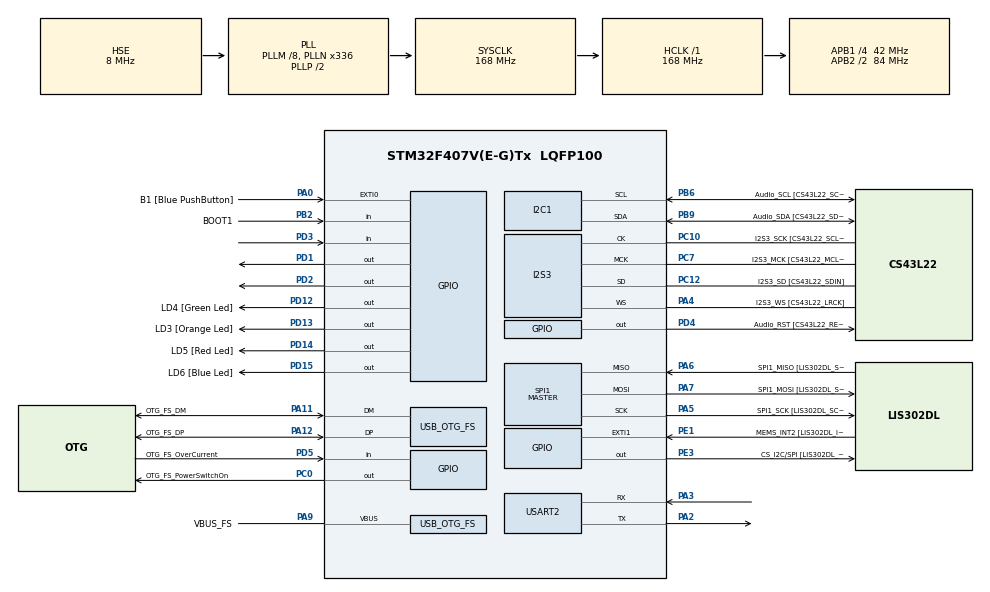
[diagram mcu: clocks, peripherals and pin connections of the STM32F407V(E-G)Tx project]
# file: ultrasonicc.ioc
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I2S3.AudioFreq-Half_Duplex_Master=I2S_AUDIOFREQ_96K
I2S3.ErrorAudioFreq=-2.34 %
I2S3.ErrorAudioFreq-Half_Duplex_Master=0.8 %
I2S3.FullDuplexMode=I2S_FULLDUPLEXMODE_DISABLE
I2S3.Instance=SPI$Index
I2S3.RealAudioFreq=93.75 KHz
I2S3.RealAudioFreq-Half_Duplex_Master=96.774 KHz
I2S3.VirtualMode=I2S_MODE_MASTER
Mcu.Family=STM32F4
Mcu.Name=STM32F407V(E-G)Tx
Mcu.Package=LQFP100
NVIC.OTG_FS_IRQn=true\:0\:0\:false\:false\:true\:true\:true
NVIC.PriorityGroup=NVIC_PRIORITYGROUP_0
PA0-WKUP.GPIO_Label=B1 [Blue PushButton]
PA0-WKUP.GPIO_ModeDefaultEXTI=GPIO_MODE_EVT_RISING
PA0-WKUP.GPIO_PuPd=GPIO_NOPULL
PA0-WKUP.Signal=GPXTI0
PA10.GPIO_Label=OTG_FS_ID
PA10.GPIO_Mode=GPIO_MODE_AF_PP
PA10.GPIO_PuPd=GPIO_NOPULL
PA10.GPIO_Speed=GPIO_SPEED_FREQ_LOW
PA10.Signal=USB_OTG_FS_ID
PA11.GPIO_Label=OTG_FS_DM
PA11.GPIO_Mode=GPIO_MODE_AF_PP
PA11.GPIO_PuPd=GPIO_NOPULL
PA11.GPIO_Speed=GPIO_SPEED_FREQ_LOW
PA11.Mode=Host_Only
PA11.Signal=USB_OTG_FS_DM
PA12.GPIO_Label=OTG_FS_DP
PA12.GPIO_Mode=GPIO_MODE_AF_PP
PA12.GPIO_PuPd=GPIO_NOPULL
PA12.GPIO_Speed=GPIO_SPEED_FREQ_LOW
PA12.Mode=Host_Only
PA12.Signal=USB_OTG_FS_DP
PA13.GPIO_Label=SWDIO
PA13.Mode=Serial_Wire
PA13.Signal=SYS_JTMS-SWDIO
PA14.GPIO_Label=SWCLK
PA14.Mode=Serial_Wire
PA14.Signal=SYS_JTCK-SWCLK
PA2.Mode=Asynchronous
PA2.Signal=USART2_TX
PA3.Mode=Asynchronous
PA3.Signal=USART2_RX
PA4.GPIO_Label=I2S3_WS [CS43L22_LRCK]
PA4.GPIO_Mode=GPIO_MODE_AF_PP
PA4.GPIO_PuPd=GPIO_NOPULL
PA4.GPIO_Speed=GPIO_SPEED_FREQ_LOW
PA4.Mode=Half_Duplex_Master
PA4.Signal=I2S3_WS
PA5.GPIO_Label=SPI1_SCK [LIS302DL_SCL/SPC]
PA5.GPIO_Mode=GPIO_MODE_AF_PP
PA5.GPIO_PuPd=GPIO_NOPULL
PA5.GPIO_Speed=GPIO_SPEED_FREQ_LOW
PA5.Mode=Full_Duplex_Master
PA5.Signal=SPI1_SCK
PA6.GPIO_Label=SPI1_MISO [LIS302DL_SDO]
PA6.GPIO_Mode=GPIO_MODE_AF_PP
PA6.GPIO_PuPd=GPIO_NOPULL
PA6.GPIO_Speed=GPIO_SPEED_FREQ_LOW
PA6.Mode=Full_Duplex_Master
PA6.Signal=SPI1_MISO
PA7.GPIO_Label=SPI1_MOSI [LIS302DL_SDA/SDI/SDO]
PA7.GPIO_Mode=GPIO_MODE_AF_PP
PA7.GPIO_PuPd=GPIO_NOPULL
PA7.GPIO_Speed=GPIO_SPEED_FREQ_LOW
PA7.Mode=Full_Duplex_Master
PA7.Signal=SPI1_MOSI
PA9.GPIO_Label=VBUS_FS
PA9.GPIO_Mode=GPIO_MODE_INPUT
PA9.GPIO_PuPd=GPIO_NOPULL
PA9.Mode=Activate_VBUS
PA9.Signal=USB_OTG_FS_VBUS
PB10.GPIO_Label=CLK_IN [MP45DT02_CLK]
PB10.GPIO_Mode=GPIO_MODE_AF_PP
PB10.GPIO_PuPd=GPIO_NOPULL
PB10.GPIO_Speed=GPIO_SPEED_FREQ_LOW
PB10.Signal=I2S2_CK
PB2.GPIO_Label=BOOT1
PB2.GPIO_Mode=GPIO_MODE_INPUT
PB2.GPIO_PuPd=GPIO_NOPULL
PB2.Signal=GPIO_Input
PB3.GPIO_Label=SWO
PB3.Signal=SYS_JTDO-SWO
PB6.GPIO_Label=Audio_SCL [CS43L22_SCL]
PB6.GPIO_Mode=GPIO_MODE_AF_OD
PB6.GPIO_PuPd=GPIO_NOPULL
PB6.GPIO_Speed=GPIO_SPEED_FREQ_LOW
PB6.Mode=I2C
PB6.Signal=I2C1_SCL
PB9.GPIO_Label=Audio_SDA [CS43L22_SDA]
PB9.GPIO_Mode=GPIO_MODE_AF_OD
PB9.GPIO_PuPd=GPIO_NOPULL
PB9.GPIO_Speed=GPIO_SPEED_FREQ_LOW
PB9.Mode=I2C
PB9.Signal=I2C1_SDA
PC0.GPIO_Label=OTG_FS_PowerSwitchOn
PC0.GPIO_PuPd=GPIO_NOPULL
PC0.GPIO_Speed=GPIO_SPEED_FREQ_LOW
PC0.PinState=GPIO_PIN_SET
PC0.Signal=GPIO_Output
PC10.GPIO_Label=I2S3_SCK [CS43L22_SCLK]
PC10.GPIO_Mode=GPIO_MODE_AF_PP
PC10.GPIO_PuPd=GPIO_NOPULL
PC10.GPIO_Speed=GPIO_SPEED_FREQ_LOW
PC10.Mode=Half_Duplex_Master
PC10.Signal=I2S3_CK
PC12.GPIO_Label=I2S3_SD [CS43L22_SDIN]
PC12.GPIO_Mode=GPIO_MODE_AF_PP
PC12.GPIO_PuPd=GPIO_NOPULL
PC12.GPIO_Speed=GPIO_SPEED_FREQ_LOW
PC12.Mode=Half_Duplex_Master
PC12.Signal=I2S3_SD
PC14-OSC32_IN.GPIO_Label=PC14-OSC32_IN
PC14-OSC32_IN.Mode=LSE-External-Oscillator
PC14-OSC32_IN.Signal=RCC_OSC32_IN
PC15-OSC32_OUT.GPIO_Label=PC15-OSC32_OUT
PC15-OSC32_OUT.Mode=LSE-External-Oscillator
PC15-OSC32_OUT.Signal=RCC_OSC32_OUT
PC3.GPIO_Label=PDM_OUT [MP45DT02_DOUT]
PC3.GPIO_Mode=GPIO_MODE_AF_PP
PC3.GPIO_PuPd=GPIO_NOPULL
PC3.GPIO_Speed=GPIO_SPEED_FREQ_LOW
PC3.Signal=I2S2_SD
PC7.GPIO_Label=I2S3_MCK [CS43L22_MCLK]
PC7.GPIO_Mode=GPIO_MODE_AF_PP
PC7.GPIO_PuPd=GPIO_NOPULL
PC7.GPIO_Speed=GPIO_SPEED_FREQ_LOW
PC7.Mode=Master_Clock_Activated
PC7.Signal=I2S3_MCK
PD1.Signal=GPIO_Output
PD12.GPIO_Label=LD4 [Green Led]
PD12.GPIO_PuPd=GPIO_NOPULL
PD12.GPIO_Speed=GPIO_SPEED_FREQ_LOW
PD12.Signal=GPIO_Output
PD13.GPIO_Label=LD3 [Orange Led]
PD13.GPIO_PuPd=GPIO_NOPULL
PD13.GPIO_Speed=GPIO_SPEED_FREQ_LOW
PD13.Signal=GPIO_Output
PD14.GPIO_Label=LD5 [Red Led]
PD14.GPIO_PuPd=GPIO_NOPULL
PD14.GPIO_Speed=GPIO_SPEED_FREQ_LOW
PD14.Signal=GPIO_Output
PD15.GPIO_Label=LD6 [Blue Led]
PD15.GPIO_PuPd=GPIO_NOPULL
PD15.GPIO_Speed=GPIO_SPEED_FREQ_LOW
PD15.Signal=GPIO_Output
PD2.Signal=GPIO_Output
PD3.Signal=GPIO_Input
PD4.GPIO_Label=Audio_RST [CS43L22_RESET]
PD4.GPIO_PuPd=GPIO_NOPULL
PD4.GPIO_Speed=GPIO_SPEED_FREQ_LOW
PD4.Signal=GPIO_Output
PD5.GPIO_Label=OTG_FS_OverCurrent
PD5.GPIO_Mode=GPIO_MODE_INPUT
PD5.GPIO_PuPd=GPIO_NOPULL
PD5.Signal=GPIO_Input
PE1.GPIO_Label=MEMS_INT2 [LIS302DL_INT2]
PE1.GPIO_ModeDefaultEXTI=GPIO_MODE_EVT_RISING
PE1.GPIO_PuPd=GPIO_NOPULL
PE1.Signal=GPXTI1
PE3.GPIO_Label=CS_I2C/SPI [LIS302DL_CS_I2C/SPI]
PE3.GPIO_PuPd=GPIO_NOPULL
PE3.GPIO_Speed=GPIO_SPEED_FREQ_LOW
PE3.Signal=GPIO_Output
PH0-OSC_IN.GPIO_Label=PH0-OSC_IN
PH0-OSC_IN.Mode=HSE-External-Oscillator
PH0-OSC_IN.Signal=RCC_OSC_IN
PH1-OSC_OUT.GPIO_Label=PH1-OSC_OUT
PH1-OSC_OUT.Mode=HSE-External-Oscillator
PH1-OSC_OUT.Signal=RCC_OSC_OUT
ProjectManager.HeapSize=0x200
ProjectManager.StackSize=0x400
ProjectManager.TargetToolchain=STM32CubeIDE
RCC.48MHZClocksFreq_Value=48000000
RCC.AHBFreq_Value=168000000
RCC.APB1CLKDivider=RCC_HCLK_DIV4
RCC.APB1Freq_Value=42000000
RCC.APB1TimFreq_Value=84000000
RCC.APB2CLKDivider=RCC_HCLK_DIV2
RCC.APB2Freq_Value=84000000
RCC.APB2TimFreq_Value=168000000
RCC.CortexFreq_Value=168000000
RCC.HCLKFreq_Value=168000000
RCC.HSE_VALUE=8000000
RCC.HSI_VALUE=16000000
RCC.PLLM=8
RCC.PLLN=336
RCC.PLLQ=7
RCC.SYSCLKFreq_VALUE=168000000
RCC.SYSCLKSource=RCC_SYSCLKSOURCE_PLLCLK
RCC.VCOOutputFreq_Value=336000000
SPI1.BaudRatePrescaler-Full_Duplex_Master=SPI_BAUDRATEPRESCALER_2
SPI1.CalculateBaudRate-Full_Duplex_Master=42.0 MBits/s
SPI1.Direction=SPI_DIRECTION_2LINES
SPI1.Mode=SPI_MODE_MASTER
SPI1.Mode-Full_Duplex_Master=SPI_MODE_MASTER
SPI1.VirtualType=VM_MASTER
USART2.VirtualMode=VM_ASYNC
USB_HOST.BSP.number=1
USB_HOST.USBH_HandleTypeDef-CDC_FS=hUsbHostFS
USB_HOST.VirtualModeFS=Cdc
USB_HOST0.BSP.STBoard=false
USB_HOST0.BSP.api=Unknown
USB_HOST0.BSP.i2caddr=0
USB_HOST0.BSP.i2creg=0
USB_HOST0.BSP.instance=PC0
USB_HOST0.BSP.ip=GPIO
USB_HOST0.BSP.mode=Output
USB_HOST0.BSP.name=Drive_VBUS_FS
USB_HOST0.BSP.solution=PC0
USB_OTG_FS.VirtualMode=Host_Only
USB_OTG_FS.phy_itface=HCD_PHY_EMBEDDED
VP_USB_HOST_VS_USB_HOST_CDC_FS.Mode=CDC_FS
board=STM32F407G-DISC1

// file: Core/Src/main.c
/* USER CODE BEGIN Header */
/**
  ******************************************************************************
  * @file           : main.c
  * @brief          : Main program body
  ******************************************************************************
  * @attention
  *
  * <h2><center>&copy; Copyright (c) 2019 STMicroelectronics.
  * All rights reserved.</center></h2>
  *
  * This software component is licensed by ST under Ultimate Liberty license
  * SLA0044, the "License"; You may not use this file except in compliance with
  * the License. You may obtain a copy of the License at:
  *                             www.st.com/SLA0044
  *
  ******************************************************************************
  */
/* USER CODE END Header */

#include "main.h"
#include "usb_host.h"

/* USER CODE BEGIN Includes */
#include "stm32f4xx_hal.h"
#include "stm32f4xx_hal_gpio.h"
#include "dwt_delay.h"
/* USER CODE END Includes */

I2C_HandleTypeDef hi2c1;

I2S_HandleTypeDef hi2s3;

SPI_HandleTypeDef hspi1;

UART_HandleTypeDef huart2;

void SystemClock_Config(void);
static void MX_GPIO_Init(void);
static void MX_I2C1_Init(void);
static void MX_I2S3_Init(void);
static void MX_SPI1_Init(void);
static void MX_USART2_UART_Init(void);
void MX_USB_HOST_Process(void);

/* USER CODE BEGIN 0 */
void Delay(uint16_t i){	// i = 1, delay 2 micro sec
	int x;
	for(int k=0;k<i;k++){
		x = 0;
	}
}

uint32_t us_read(){
	uint16_t localtime = 0;
	HAL_GPIO_WritePin(GPIOD, GPIO_PIN_2, GPIO_PIN_SET);
	DWT_Delay(10);
	HAL_GPIO_WritePin(GPIOD, GPIO_PIN_2, GPIO_PIN_RESET);
//	HAL_UART_Transmit(&huart2, "s", sizeof("s"), HAL_MAX_DELAY);
	while(!HAL_GPIO_ReadPin(GPIOD, GPIO_PIN_3));
//	HAL_UART_Transmit(&huart2, "e", sizeof("e"), HAL_MAX_DELAY);
	while(HAL_GPIO_ReadPin(GPIOD, GPIO_PIN_3)){
		localtime++;
		DWT_Delay(1);
	}
	return localtime*2;
}
/* USER CODE END 0 */

int main(void)
{

  /* MCU Configuration--------------------------------------------------------*/

  /* Reset of all peripherals, Initializes the Flash interface and the Systick. */
  HAL_Init();

  /* Configure the system clock */
  SystemClock_Config();

  /* Initialize all configured peripherals */
  MX_GPIO_Init();
  MX_I2C1_Init();
  MX_I2S3_Init();
  MX_SPI1_Init();
  MX_USB_HOST_Init();
  MX_USART2_UART_Init();
  /* USER CODE BEGIN 2 */
  uint32_t sensortime;
   uint16_t distance;
   char buffer[7];

   const uint16_t threshold = 50;
  /* USER CODE END 2 */

  /* Infinite loop */
  while (1)
  {
    MX_USB_HOST_Process();

    /* USER CODE BEGIN 3 */
    sensortime = us_read();
        distance = sensortime * 0.034/2;
//        sprintf(buffer, "%d", distance);
//              buffer[5] = (char)13;
//             buffer[6] = (char)10;
//              HAL_UART_Transmit(&huart2, buffer, sizeof(buffer), HAL_MAX_DELAY);
        while ( distance < threshold ){
        	HAL_GPIO_WritePin(GPIOD, GPIO_PIN_1, GPIO_PIN_SET);
        	HAL_GPIO_WritePin(GPIOD, GPIO_PIN_15, GPIO_PIN_SET);
        	HAL_GPIO_WritePin(GPIOD, GPIO_PIN_14, GPIO_PIN_SET);
        	HAL_GPIO_WritePin(GPIOD, GPIO_PIN_13, GPIO_PIN_SET);
        	HAL_GPIO_WritePin(GPIOD, GPIO_PIN_12, GPIO_PIN_SET);
        	HAL_Delay(100);
        	sensortime = us_read();
        	distance = sensortime * 0.034/2;
        }
        HAL_GPIO_WritePin(GPIOD, GPIO_PIN_15, GPIO_PIN_RESET);
        HAL_GPIO_WritePin(GPIOD, GPIO_PIN_14, GPIO_PIN_RESET);
        HAL_GPIO_WritePin(GPIOD, GPIO_PIN_13, GPIO_PIN_RESET);
        HAL_GPIO_WritePin(GPIOD, GPIO_PIN_12, GPIO_PIN_RESET);
        HAL_GPIO_WritePin(GPIOD, GPIO_PIN_1, GPIO_PIN_RESET);

  }
  /* USER CODE END 3 */
}

void SystemClock_Config(void)
{
  RCC_OscInitTypeDef RCC_OscInitStruct = {0};
  RCC_ClkInitTypeDef RCC_ClkInitStruct = {0};
  RCC_PeriphCLKInitTypeDef PeriphClkInitStruct = {0};

  /** Configure the main internal regulator output voltage
  */
  __HAL_RCC_PWR_CLK_ENABLE();
  __HAL_PWR_VOLTAGESCALING_CONFIG(PWR_REGULATOR_VOLTAGE_SCALE1);
  /** Initializes the CPU, AHB and APB busses clocks
  */
  RCC_OscInitStruct.OscillatorType = RCC_OSCILLATORTYPE_HSE;
  RCC_OscInitStruct.HSEState = RCC_HSE_ON;
  RCC_OscInitStruct.PLL.PLLState = RCC_PLL_ON;
  RCC_OscInitStruct.PLL.PLLSource = RCC_PLLSOURCE_HSE;
  RCC_OscInitStruct.PLL.PLLM = 8;
  RCC_OscInitStruct.PLL.PLLN = 336;
  RCC_OscInitStruct.PLL.PLLP = RCC_PLLP_DIV2;
  RCC_OscInitStruct.PLL.PLLQ = 7;
  if (HAL_RCC_OscConfig(&RCC_OscInitStruct) != HAL_OK)
  {
    Error_Handler();
  }
  /** Initializes the CPU, AHB and APB busses clocks
  */
  RCC_ClkInitStruct.ClockType = RCC_CLOCKTYPE_HCLK|RCC_CLOCKTYPE_SYSCLK
                              |RCC_CLOCKTYPE_PCLK1|RCC_CLOCKTYPE_PCLK2;
  RCC_ClkInitStruct.SYSCLKSource = RCC_SYSCLKSOURCE_PLLCLK;
  RCC_ClkInitStruct.AHBCLKDivider = RCC_SYSCLK_DIV1;
  RCC_ClkInitStruct.APB1CLKDivider = RCC_HCLK_DIV4;
  RCC_ClkInitStruct.APB2CLKDivider = RCC_HCLK_DIV2;

  if (HAL_RCC_ClockConfig(&RCC_ClkInitStruct, FLASH_LATENCY_5) != HAL_OK)
  {
    Error_Handler();
  }
  PeriphClkInitStruct.PeriphClockSelection = RCC_PERIPHCLK_I2S;
  PeriphClkInitStruct.PLLI2S.PLLI2SN = 192;
  PeriphClkInitStruct.PLLI2S.PLLI2SR = 2;
  if (HAL_RCCEx_PeriphCLKConfig(&PeriphClkInitStruct) != HAL_OK)
  {
    Error_Handler();
  }
}

static void MX_I2C1_Init(void)
{

  hi2c1.Instance = I2C1;
  hi2c1.Init.ClockSpeed = 100000;
  hi2c1.Init.DutyCycle = I2C_DUTYCYCLE_2;
  hi2c1.Init.OwnAddress1 = 0;
  hi2c1.Init.AddressingMode = I2C_ADDRESSINGMODE_7BIT;
  hi2c1.Init.DualAddressMode = I2C_DUALADDRESS_DISABLE;
  hi2c1.Init.OwnAddress2 = 0;
  hi2c1.Init.GeneralCallMode = I2C_GENERALCALL_DISABLE;
  hi2c1.Init.NoStretchMode = I2C_NOSTRETCH_DISABLE;
  if (HAL_I2C_Init(&hi2c1) != HAL_OK)
  {
    Error_Handler();
  }

}

static void MX_I2S3_Init(void)
{

  hi2s3.Instance = SPI3;
  hi2s3.Init.Mode = I2S_MODE_MASTER_TX;
  hi2s3.Init.Standard = I2S_STANDARD_PHILIPS;
  hi2s3.Init.DataFormat = I2S_DATAFORMAT_16B;
  hi2s3.Init.MCLKOutput = I2S_MCLKOUTPUT_ENABLE;
  hi2s3.Init.AudioFreq = I2S_AUDIOFREQ_96K;
  hi2s3.Init.CPOL = I2S_CPOL_LOW;
  hi2s3.Init.ClockSource = I2S_CLOCK_PLL;
  hi2s3.Init.FullDuplexMode = I2S_FULLDUPLEXMODE_DISABLE;
  if (HAL_I2S_Init(&hi2s3) != HAL_OK)
  {
    Error_Handler();
  }

}

static void MX_SPI1_Init(void)
{

  /* SPI1 parameter configuration*/
  hspi1.Instance = SPI1;
  hspi1.Init.Mode = SPI_MODE_MASTER;
  hspi1.Init.Direction = SPI_DIRECTION_2LINES;
  hspi1.Init.DataSize = SPI_DATASIZE_8BIT;
  hspi1.Init.CLKPolarity = SPI_POLARITY_LOW;
  hspi1.Init.CLKPhase = SPI_PHASE_1EDGE;
  hspi1.Init.NSS = SPI_NSS_SOFT;
  hspi1.Init.BaudRatePrescaler = SPI_BAUDRATEPRESCALER_2;
  hspi1.Init.FirstBit = SPI_FIRSTBIT_MSB;
  hspi1.Init.TIMode = SPI_TIMODE_DISABLE;
  hspi1.Init.CRCCalculation = SPI_CRCCALCULATION_DISABLE;
  hspi1.Init.CRCPolynomial = 10;
  if (HAL_SPI_Init(&hspi1) != HAL_OK)
  {
    Error_Handler();
  }

}

static void MX_USART2_UART_Init(void)
{

  huart2.Instance = USART2;
  huart2.Init.BaudRate = 115200;
  huart2.Init.WordLength = UART_WORDLENGTH_8B;
  huart2.Init.StopBits = UART_STOPBITS_1;
  huart2.Init.Parity = UART_PARITY_NONE;
  huart2.Init.Mode = UART_MODE_TX_RX;
  huart2.Init.HwFlowCtl = UART_HWCONTROL_NONE;
  huart2.Init.OverSampling = UART_OVERSAMPLING_16;
  if (HAL_UART_Init(&huart2) != HAL_OK)
  {
    Error_Handler();
  }

}

static void MX_GPIO_Init(void)
{
  GPIO_InitTypeDef GPIO_InitStruct = {0};

  /* GPIO Ports Clock Enable */
  __HAL_RCC_GPIOE_CLK_ENABLE();
  __HAL_RCC_GPIOC_CLK_ENABLE();
  __HAL_RCC_GPIOH_CLK_ENABLE();
  __HAL_RCC_GPIOA_CLK_ENABLE();
  __HAL_RCC_GPIOB_CLK_ENABLE();
  __HAL_RCC_GPIOD_CLK_ENABLE();

  /*Configure GPIO pin Output Level */
  HAL_GPIO_WritePin(CS_I2C_SPI_GPIO_Port, CS_I2C_SPI_Pin, GPIO_PIN_RESET);

  /*Configure GPIO pin Output Level */
  HAL_GPIO_WritePin(OTG_FS_PowerSwitchOn_GPIO_Port, OTG_FS_PowerSwitchOn_Pin, GPIO_PIN_SET);

  /*Configure GPIO pin Output Level */
  HAL_GPIO_WritePin(GPIOD, LD4_Pin|LD3_Pin|LD5_Pin|LD6_Pin
                          |GPIO_PIN_1|GPIO_PIN_2|Audio_RST_Pin, GPIO_PIN_RESET);

  /*Configure GPIO pin : CS_I2C_SPI_Pin */
  GPIO_InitStruct.Pin = CS_I2C_SPI_Pin;
  GPIO_InitStruct.Mode = GPIO_MODE_OUTPUT_PP;
  GPIO_InitStruct.Pull = GPIO_NOPULL;
  GPIO_InitStruct.Speed = GPIO_SPEED_FREQ_LOW;
  HAL_GPIO_Init(CS_I2C_SPI_GPIO_Port, &GPIO_InitStruct);

  /*Configure GPIO pin : OTG_FS_PowerSwitchOn_Pin */
  GPIO_InitStruct.Pin = OTG_FS_PowerSwitchOn_Pin;
  GPIO_InitStruct.Mode = GPIO_MODE_OUTPUT_PP;
  GPIO_InitStruct.Pull = GPIO_NOPULL;
  GPIO_InitStruct.Speed = GPIO_SPEED_FREQ_LOW;
  HAL_GPIO_Init(OTG_FS_PowerSwitchOn_GPIO_Port, &GPIO_InitStruct);

  /*Configure GPIO pin : PDM_OUT_Pin */
  GPIO_InitStruct.Pin = PDM_OUT_Pin;
  GPIO_InitStruct.Mode = GPIO_MODE_AF_PP;
  GPIO_InitStruct.Pull = GPIO_NOPULL;
  GPIO_InitStruct.Speed = GPIO_SPEED_FREQ_LOW;
  GPIO_InitStruct.Alternate = GPIO_AF5_SPI2;
  HAL_GPIO_Init(PDM_OUT_GPIO_Port, &GPIO_InitStruct);

  /*Configure GPIO pin : B1_Pin */
  GPIO_InitStruct.Pin = B1_Pin;
  GPIO_InitStruct.Mode = GPIO_MODE_EVT_RISING;
  GPIO_InitStruct.Pull = GPIO_NOPULL;
  HAL_GPIO_Init(B1_GPIO_Port, &GPIO_InitStruct);

  /*Configure GPIO pin : BOOT1_Pin */
  GPIO_InitStruct.Pin = BOOT1_Pin;
  GPIO_InitStruct.Mode = GPIO_MODE_INPUT;
  GPIO_InitStruct.Pull = GPIO_NOPULL;
  HAL_GPIO_Init(BOOT1_GPIO_Port, &GPIO_InitStruct);

  /*Configure GPIO pin : CLK_IN_Pin */
  GPIO_InitStruct.Pin = CLK_IN_Pin;
  GPIO_InitStruct.Mode = GPIO_MODE_AF_PP;
  GPIO_InitStruct.Pull = GPIO_NOPULL;
  GPIO_InitStruct.Speed = GPIO_SPEED_FREQ_LOW;
  GPIO_InitStruct.Alternate = GPIO_AF5_SPI2;
  HAL_GPIO_Init(CLK_IN_GPIO_Port, &GPIO_InitStruct);

  /*Configure GPIO pins : LD4_Pin LD3_Pin LD5_Pin LD6_Pin
                           PD1 PD2 Audio_RST_Pin */
  GPIO_InitStruct.Pin = LD4_Pin|LD3_Pin|LD5_Pin|LD6_Pin
                          |GPIO_PIN_1|GPIO_PIN_2|Audio_RST_Pin;
  GPIO_InitStruct.Mode = GPIO_MODE_OUTPUT_PP;
  GPIO_InitStruct.Pull = GPIO_NOPULL;
  GPIO_InitStruct.Speed = GPIO_SPEED_FREQ_LOW;
  HAL_GPIO_Init(GPIOD, &GPIO_InitStruct);

  /*Configure GPIO pins : PD3 OTG_FS_OverCurrent_Pin */
  GPIO_InitStruct.Pin = GPIO_PIN_3|OTG_FS_OverCurrent_Pin;
  GPIO_InitStruct.Mode = GPIO_MODE_INPUT;
  GPIO_InitStruct.Pull = GPIO_NOPULL;
  HAL_GPIO_Init(GPIOD, &GPIO_InitStruct);

  /*Configure GPIO pin : MEMS_INT2_Pin */
  GPIO_InitStruct.Pin = MEMS_INT2_Pin;
  GPIO_InitStruct.Mode = GPIO_MODE_EVT_RISING;
  GPIO_InitStruct.Pull = GPIO_NOPULL;
  HAL_GPIO_Init(MEMS_INT2_GPIO_Port, &GPIO_InitStruct);

}

void Error_Handler(void)
{
}

/************************ (C) COPYRIGHT STMicroelectronics *****END OF FILE****/
